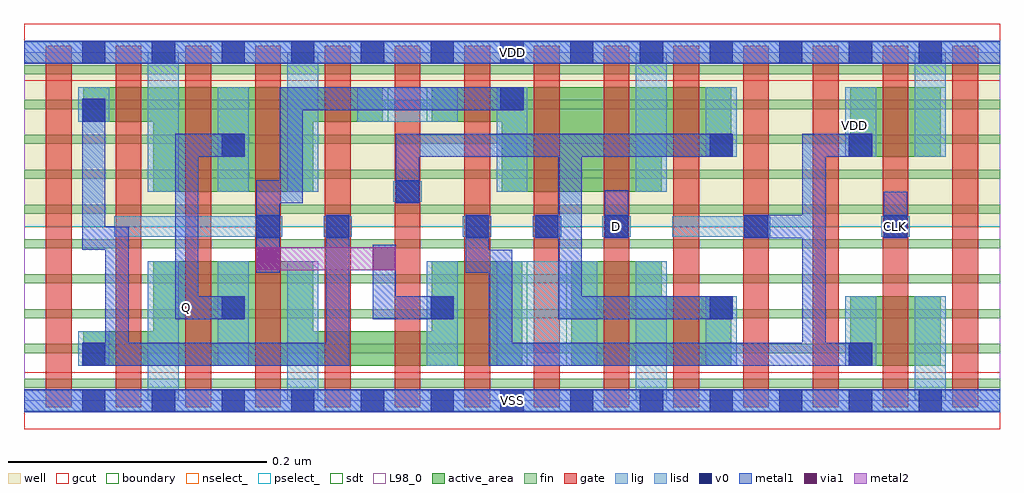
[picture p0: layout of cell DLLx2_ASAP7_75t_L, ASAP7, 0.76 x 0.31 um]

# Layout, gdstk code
import gdstk
lib = gdstk.Library(unit=1e-6, precision=2.5e-10)
def R(c, l, rs):  # rectangles x0, y0, x1, y1
    for r in rs: c.add(gdstk.rectangle(r[:2], r[2:], *l))
def A(c, l, x, y, w, h, nx, ny, dx, dy):  # array of equal rectangles
    R(c, l, [(x+i*dx, y+j*dy, x+i*dx+w, y+j*dy+h) for i in range(nx) for j in range(ny)])
def P(c, l, *ps):  # polygons
    for p in ps: c.add(gdstk.Polygon(p, *l))
well = (1, 0)
fin = (2, 0)
gate = (7, 0)
gcut = (10, 0)
active_area = (11, 0)
nselect_ = (12, 0)
pselect_ = (13, 0)
lig = (16, 0)
lisd = (17, 0)
v0 = (18, 0)
metal1 = (19, 0)
metal2 = (20, 0)
via1 = (21, 0)
sdt = (88, 0)
L98_0 = (98, 0)
boundary = (100, 0)

dllx2_asap7_75t_l = lib.new_cell('DLLx2_ASAP7_75t_L')
R(dllx2_asap7_75t_l, well, [(0,0.135,0.756,0.27)])
A(dllx2_asap7_75t_l, fin, 0, 0.01, 0.756, 0.007, 1, 10, 0, 0.027)
A(dllx2_asap7_75t_l, gate, 0.017, -0.005, 0.02, 0.28, 14, 1, 0.054, 0)
R(dllx2_asap7_75t_l, gcut, [(0,-0.022,0.756,0.022), (0,0.248,0.756,0.292)])
R(dllx2_asap7_75t_l, active_area, [(0.64,0.027,0.71,0.081), (0.64,0.189,0.71,0.243)])
P(dllx2_asap7_75t_l, active_area, [(0.424,0.027),(0.424,0.108),(0.494,0.108),(0.494,0.081),(0.548,0.081),(0.548,0.027)],
  [(0.046,0.027),(0.046,0.054),(0.1,0.054),(0.1,0.108),(0.224,0.108),(0.224,0.054),(0.316,0.054),(0.316,0.108),(0.386,0.108),(0.386,0.027)],
  [(0.37,0.162),(0.37,0.216),(0.316,0.216),(0.316,0.243),(0.548,0.243),(0.548,0.189),(0.494,0.189),(0.494,0.162)],
  [(0.1,0.162),(0.1,0.216),(0.046,0.216),(0.046,0.243),(0.278,0.243),(0.278,0.216),(0.224,0.216),(0.224,0.162)])
R(dllx2_asap7_75t_l, nselect_, [(0,0,0.756,0.135)])
R(dllx2_asap7_75t_l, pselect_, [(0,0.135,0.756,0.27)])
A(dllx2_asap7_75t_l, lig, 0.34, 0.127, 0.022, 0.016, 3, 1, 0.054, 0)
R(dllx2_asap7_75t_l, lig, [(0,-0.008,0.756,0.008), (0.07,0.127,0.2,0.143), (0.232,0.127,0.254,0.143), (0.502,0.127,0.578,0.143), (0.664,0.127,0.686,0.143), (0.286,0.154,0.308,0.17), (0,0.262,0.756,0.278)])
R(dllx2_asap7_75t_l, lisd, [(0.096,0,0.12,0.108), (0.204,0,0.228,0.108), (0.474,0,0.498,0.108), (0.69,0,0.714,0.081), (0.042,0.027,0.066,0.054), (0.15,0.027,0.174,0.108), (0.312,0.027,0.336,0.108), (0.366,0.027,0.444,0.108), (0.528,0.027,0.552,0.081), (0.636,0.027,0.66,0.081), (0.096,0.162,0.12,0.27), (0.15,0.162,0.174,0.243), (0.204,0.162,0.228,0.27), (0.366,0.162,0.39,0.243), (0.474,0.162,0.498,0.27), (0.528,0.189,0.552,0.243), (0.636,0.189,0.66,0.243), (0.69,0.189,0.714,0.27), (0.042,0.216,0.066,0.243), (0.258,0.216,0.336,0.243)])
A(dllx2_asap7_75t_l, v0, 0.045, -0.009, 0.018, 0.018, 13, 2, 0.054, 0.27)
A(dllx2_asap7_75t_l, v0, 0.342, 0.126, 0.018, 0.018, 3, 1, 0.054, 0)
R(dllx2_asap7_75t_l, v0, [(0.045,0.027,0.063,0.045), (0.639,0.027,0.657,0.045), (0.153,0.063,0.171,0.081), (0.315,0.063,0.333,0.081), (0.531,0.063,0.549,0.081), (0.18,0.126,0.198,0.144), (0.234,0.126,0.252,0.144), (0.558,0.126,0.576,0.144), (0.666,0.126,0.684,0.144), (0.288,0.153,0.306,0.171), (0.153,0.189,0.171,0.207), (0.531,0.189,0.549,0.207), (0.639,0.189,0.657,0.207), (0.045,0.216,0.063,0.234), (0.369,0.225,0.387,0.243)])
R(dllx2_asap7_75t_l, metal1, [(0,-0.009,0.756,0.009), (0.36,0.027,0.621,0.045), (0.36,0.027,0.378,0.117), (0.342,0.099,0.378,0.117), (0.342,0.099,0.36,0.144), (0.45,0.126,0.468,0.163), (0.666,0.126,0.684,0.162), (0,0.261,0.756,0.279)])
P(dllx2_asap7_75t_l, metal1, [(0.414,0.063),(0.414,0.126),(0.396,0.126),(0.396,0.144),(0.414,0.144),(0.414,0.189),(0.306,0.189),(0.306,0.153),(0.288,0.153),(0.288,0.207),(0.549,0.207),(0.549,0.189),(0.432,0.189),(0.432,0.081),(0.549,0.081),(0.549,0.063)],
  [(0.117,0.063),(0.117,0.207),(0.171,0.207),(0.171,0.189),(0.135,0.189),(0.135,0.081),(0.171,0.081),(0.171,0.063)],
  [(0.18,0.099),(0.18,0.171),(0.198,0.171),(0.198,0.243),(0.387,0.243),(0.387,0.225),(0.216,0.225),(0.216,0.153),(0.198,0.153),(0.198,0.099)],
  [(0.27,0.063),(0.27,0.121),(0.288,0.121),(0.288,0.081),(0.333,0.081),(0.333,0.063)],
  [(0.603,0.027),(0.603,0.126),(0.558,0.126),(0.558,0.144),(0.603,0.144),(0.603,0.207),(0.657,0.207),(0.657,0.189),(0.621,0.189),(0.621,0.045),(0.657,0.045),(0.657,0.027)],
  [(0.045,0.027),(0.045,0.045),(0.063,0.045),(0.063,0.117),(0.045,0.117),(0.045,0.234),(0.063,0.234),(0.063,0.135),(0.081,0.135),(0.081,0.045),(0.234,0.045),(0.234,0.144),(0.252,0.144),(0.252,0.027)])
R(dllx2_asap7_75t_l, metal2, [(0.18,0.101,0.288,0.119)])
R(dllx2_asap7_75t_l, via1, [(0.18,0.101,0.198,0.119), (0.27,0.101,0.288,0.119)])
A(dllx2_asap7_75t_l, sdt, 0.096, 0.027, 0.024, 0.081, 3, 2, 0.054, 0.135)
A(dllx2_asap7_75t_l, sdt, 0.312, 0.027, 0.024, 0.081, 4, 1, 0.054, 0)
R(dllx2_asap7_75t_l, sdt, [(0.042,0.027,0.066,0.054), (0.528,0.027,0.552,0.081), (0.636,0.027,0.66,0.081), (0.69,0.027,0.714,0.081), (0.366,0.162,0.39,0.243), (0.474,0.162,0.498,0.243), (0.528,0.189,0.552,0.243), (0.636,0.189,0.66,0.243), (0.69,0.189,0.714,0.243), (0.042,0.216,0.066,0.243), (0.258,0.216,0.282,0.243), (0.312,0.216,0.336,0.243)])
R(dllx2_asap7_75t_l, L98_0, [(0,0,0.756,0.27)])
R(dllx2_asap7_75t_l, boundary, [(0,0,0.756,0.27)])
dllx2_asap7_75t_l.add(gdstk.Label('CLK', (0.675,0.135), layer=19, texttype=251))
dllx2_asap7_75t_l.add(gdstk.Label('D', (0.459,0.135), layer=19, texttype=251))
dllx2_asap7_75t_l.add(gdstk.Label('Q', (0.126,0.072), layer=19, texttype=251))
dllx2_asap7_75t_l.add(gdstk.Label('VSS', (0.378,0), layer=19, texttype=251))
dllx2_asap7_75t_l.add(gdstk.Label('VDD', (0.378,0.27), layer=19, texttype=251))
dllx2_asap7_75t_l.add(gdstk.Label('VDD', (0.643,0.213), layer=1, texttype=251))
dllx2_asap7_75t_l.add(gdstk.Label('VSS', (0.869,0.213), layer=3, texttype=251))

lib.write_gds('DLLx2_ASAP7_75t_L.gds')
